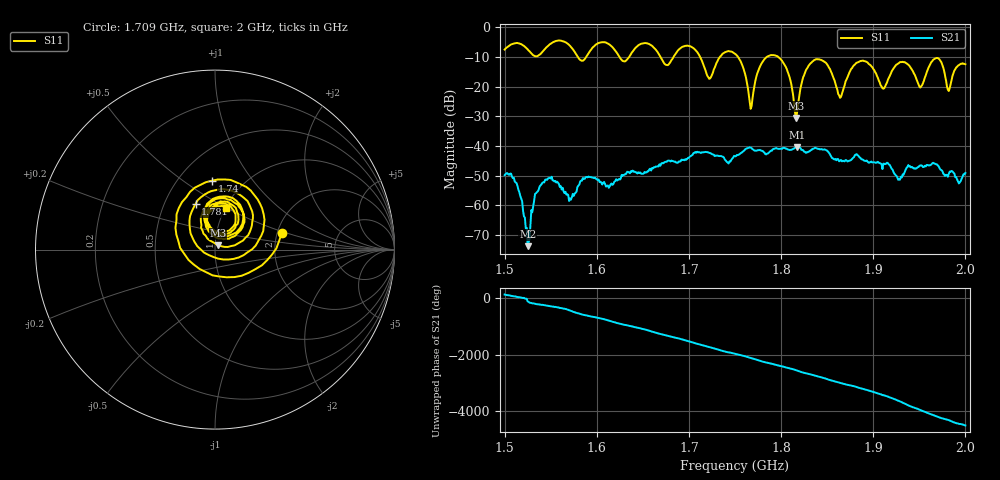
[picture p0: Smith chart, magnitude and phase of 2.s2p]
! NanoVNA-App by SYSJOINT et al v1.1.209 (+OD18)
! Date: 2026-01-21 14:26:34
! Start: 1,5GHz Stop: 2GHz Points: 501
! S-Parameter data: F S11 S21 S12 S22
# Hz S RI R 50
!  Frequency  S11_Real  S11_Imag  S21_Real  S21_Imag  S12_Real  S12_Imag  S22_Real  S22_Imag
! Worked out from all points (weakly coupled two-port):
!   501 points, 1.5 GHz to 2 GHz, reference 50 ohm
!   highest |S21| = -40.39 dB at 1.817 GHz (marker M1); lowest = -73.7 dB at 1.525 GHz (marker M2)
!   lowest |S11| = -30.6 dB at 1.816 GHz (marker M3), VSWR 1.06, Z = 51.6 + j2.52 ohm
!   |S11| at or under -10 dB: 1.712 GHz to 1.734 GHz (21.49 MHz wide, 1.25 % of centre); 1.753 GHz to 1.784 GHz (31.18 MHz wide, 1.76 % of centre); 1.797 GHz to end of sweep (the widest 3 of 6)
!   S12 and S22 are empty: the file has one direction only
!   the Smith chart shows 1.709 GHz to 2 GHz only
!   S11 on the Smith chart (normalised r, x): 1.709 GHz: 2.12, +0.45; 1.74 GHz: 0.72, +0.65; 1.781 GHz: 0.71, +0.39; 2 GHz: 1.01, +0.49
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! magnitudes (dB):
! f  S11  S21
! 1.5 GHz  -7.5  -49.8
! 1.514 GHz  -5.3  -53.5
! 1.525 GHz  -7.4  -73.7
! 1.542 GHz  -7.9  -52.2
! 1.584 GHz  -11.3  -51.6
! 1.667 GHz  -8.9  -46.9
! 1.709 GHz  -8.3  -41.9
! 1.722 GHz  -17.4  -42.3
! 1.74 GHz  -8.3  -44.9
! 1.75 GHz  -8.9  -43.5
! 1.767 GHz  -27.5  -40.5
! 1.781 GHz  -11.2  -42.0
! 1.803 GHz  -12.2  -40.6
! 1.816 GHz  -30.6  -40.5
! 1.817 GHz  -29.5  -40.4
! 1.834 GHz  -11.5  -40.9
! 1.864 GHz  -23.8  -44.9
! 1.886 GHz  -11.4  -44.0
! 1.917 GHz  -17.0  -46.2
! 1.969 GHz  -10.3  -46.2
! 1.982 GHz  -21.5  -49.3
! 2 GHz  -12.5  -49.1
